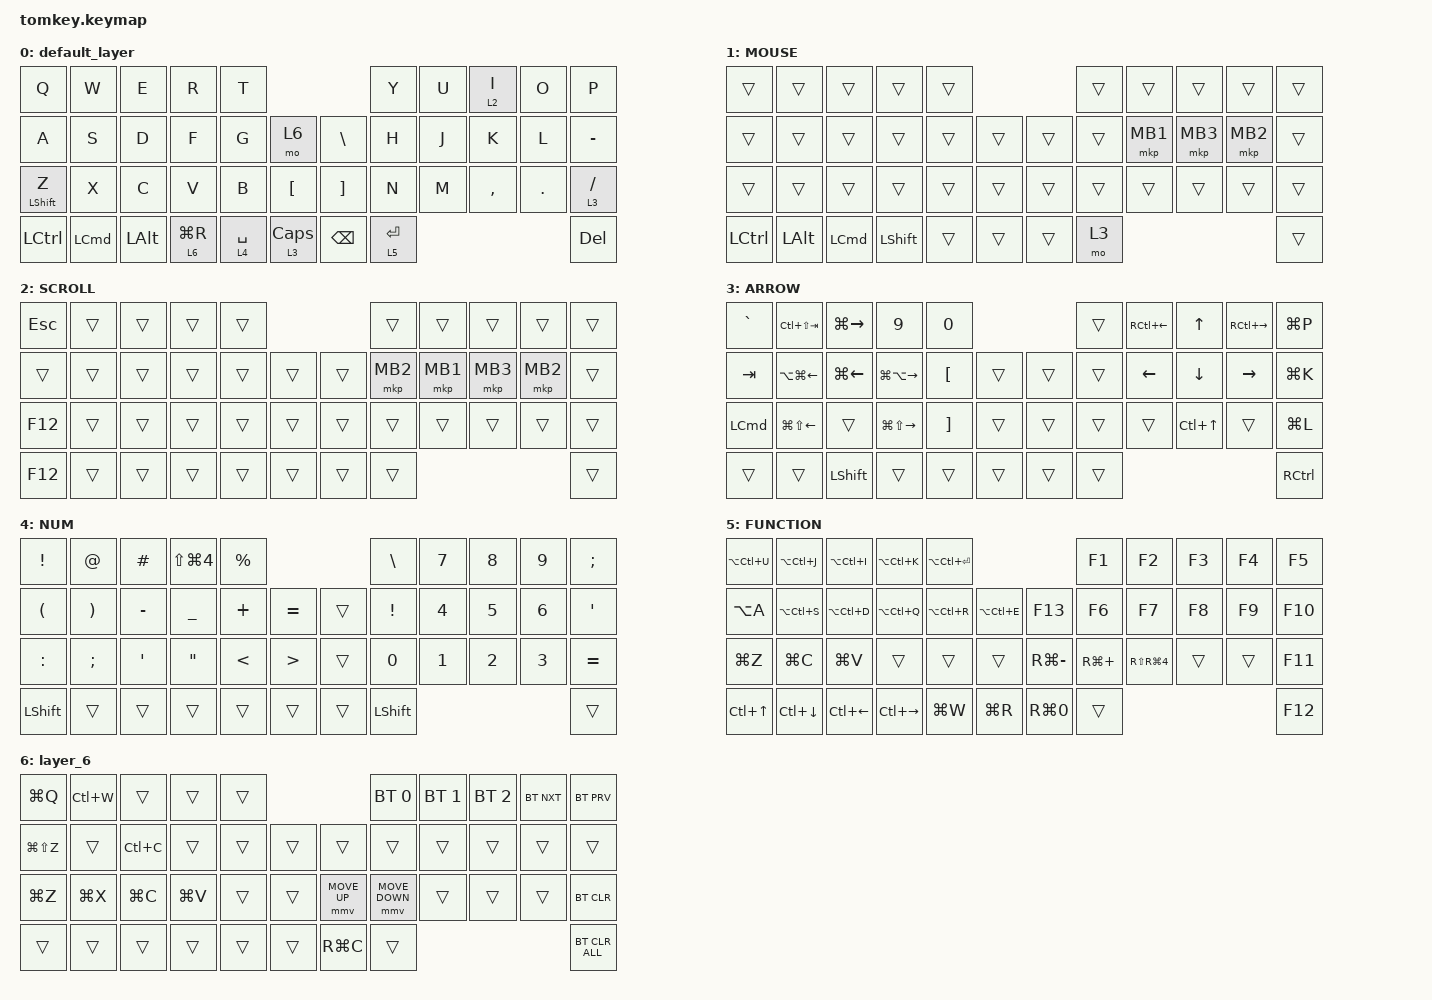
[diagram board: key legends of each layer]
#include <behaviors.dtsi>
#include <dt-bindings/zmk/bt.h>
#include <dt-bindings/zmk/keys.h>
#include <dt-bindings/zmk/pointing.h>

/ {
    keymap {
        compatible = "zmk,keymap";

        default_layer {
            bindings = <
&kp Q             &kp W             &kp E         &kp R        &kp T                                                 &kp Y        &kp U  &lt 2 I    &kp O    &kp P
&kp A             &kp S             &kp D         &kp F        &kp G        &mo 6                 &kp BACKSLASH      &kp H        &kp J  &kp K      &kp L    &kp MINUS
&mt LEFT_SHIFT Z  &kp X             &kp C         &kp V        &kp B        &kp LEFT_BRACKET      &kp RIGHT_BRACKET  &kp N        &kp M  &kp COMMA  &kp DOT  &lt 3 SLASH
&kp LEFT_CONTROL  &kp LEFT_COMMAND  &kp LEFT_ALT  &lt 6 LG(R)  &lt 4 SPACE  &lt 3 CLCK            &kp BACKSPACE      &lt 5 ENTER                             &kp DEL
            >;
        };

        MOUSE {
            bindings = <
&trans     &trans        &trans            &trans          &trans                      &trans  &trans    &trans    &trans    &trans
&trans     &trans        &trans            &trans          &trans  &trans      &trans  &trans  &mkp MB1  &mkp MB3  &mkp MB2  &trans
&trans     &trans        &trans            &trans          &trans  &trans      &trans  &trans  &trans    &trans    &trans    &trans
&kp LCTRL  &kp LEFT_ALT  &kp LEFT_COMMAND  &kp LEFT_SHIFT  &trans  &trans      &trans  &mo 3                                 &trans
            >;
        };

        SCROLL {
            bindings = <
&kp ESCAPE  &trans  &trans  &trans  &trans                      &trans    &trans    &trans    &trans    &trans
&trans      &trans  &trans  &trans  &trans  &trans      &trans  &mkp MB2  &mkp MB1  &mkp MB3  &mkp MB2  &trans
&kp F12     &trans  &trans  &trans  &trans  &trans      &trans  &trans    &trans    &trans    &trans    &trans
&kp F12     &trans  &trans  &trans  &trans  &trans      &trans  &trans                                  &trans
            >;
        };

        ARROW {
            bindings = <
&kp GRAVE  &kp LC(LS(TAB))         &kp LG(RIGHT)   &kp NUMBER_9             &kp NUMBER_0                           &trans  &kp RC(LEFT_ARROW)  &kp UP_ARROW      &kp RC(RIGHT_ARROW)  &kp LG(P)
&kp TAB    &kp LA(LG(LEFT_ARROW))  &kp LG(LEFT)    &kp LG(LA(RIGHT_ARROW))  &kp LEFT_BRACKET   &trans      &trans  &trans  &kp LEFT_ARROW      &kp DOWN_ARROW    &kp RIGHT_ARROW      &kp LG(K)
&kp LCMD   &kp LG(LS(LEFT_ARROW))  &trans          &kp LG(LS(RIGHT_ARROW))  &kp RIGHT_BRACKET  &trans      &trans  &trans  &trans              &kp LC(UP_ARROW)  &trans               &kp LG(L)
&trans     &trans                  &kp LEFT_SHIFT  &trans                   &trans             &trans      &trans  &trans                                                             &kp RIGHT_CONTROL
            >;
        };

        NUM {
            bindings = <
&kp EXCLAMATION       &kp AT_SIGN            &kp POUND  &kp LS(LG(NUMBER_4))  &kp PRCNT                                    &kp BACKSLASH    &kp NUMBER_7  &kp NUMBER_8  &kp NUMBER_9  &kp SEMICOLON
&kp LEFT_PARENTHESIS  &kp RIGHT_PARENTHESIS  &kp MINUS  &kp UNDERSCORE        &kp PLUS       &kp EQUAL             &trans  &kp EXCLAMATION  &kp NUMBER_4  &kp NUMBER_5  &kp NUMBER_6  &kp SQT
&kp COLON             &kp SEMICOLON          &kp SQT    &kp DOUBLE_QUOTES     &kp LESS_THAN  &kp GREATER_THAN      &trans  &kp NUMBER_0     &kp NUMBER_1  &kp NUMBER_2  &kp NUMBER_3  &kp EQUAL
&kp LEFT_SHIFT        &trans                 &trans     &trans                &trans         &trans                &trans  &kp LEFT_SHIFT                                             &trans
            >;
        };

        FUNCTION {
            bindings = <
&kp LA(LC(U))     &kp LA(LC(J))  &kp LA(LC(I))       &kp LA(LC(K))        &kp LA(LC(ENTER))                                    &kp F1        &kp F2                &kp F3  &kp F4  &kp F5
&kp LA(A)         &kp LA(LC(S))  &kp LA(LC(D))       &kp LA(LC(Q))        &kp LA(LC(R))      &kp LA(LC(E))      &kp F13        &kp F6        &kp F7                &kp F8  &kp F9  &kp F10
&kp LG(Z)         &kp LG(C)      &kp LG(V)           &trans               &trans             &trans             &kp RG(MINUS)  &kp RG(PLUS)  &kp RS(RG(NUMBER_4))  &trans  &trans  &kp F11
&kp LC(UP_ARROW)  &kp LC(DOWN)   &kp LC(LEFT_ARROW)  &kp LC(RIGHT_ARROW)  &kp LG(W)          &kp LG(R)          &kp RG(N0)     &trans                                              &kp F12
            >;
        };

        layer_6 {
            bindings = <
&kp LG(Q)      &kp LC(W)  &trans     &trans     &trans                            &bt BT_SEL 0    &bt BT_SEL 1  &bt BT_SEL 2  &bt BT_NXT  &bt BT_PRV
&kp LG(LS(Z))  &trans     &kp LC(C)  &trans     &trans  &trans      &trans        &trans          &trans        &trans        &trans      &trans
&kp LG(Z)      &kp LG(X)  &kp LG(C)  &kp LG(V)  &trans  &trans      &mmv MOVE_UP  &mmv MOVE_DOWN  &trans        &trans        &trans      &bt BT_CLR
&trans         &trans     &trans     &trans     &trans  &trans      &kp RG(C)     &trans                                                  &bt BT_CLR_ALL
            >;
        };
    };
};
